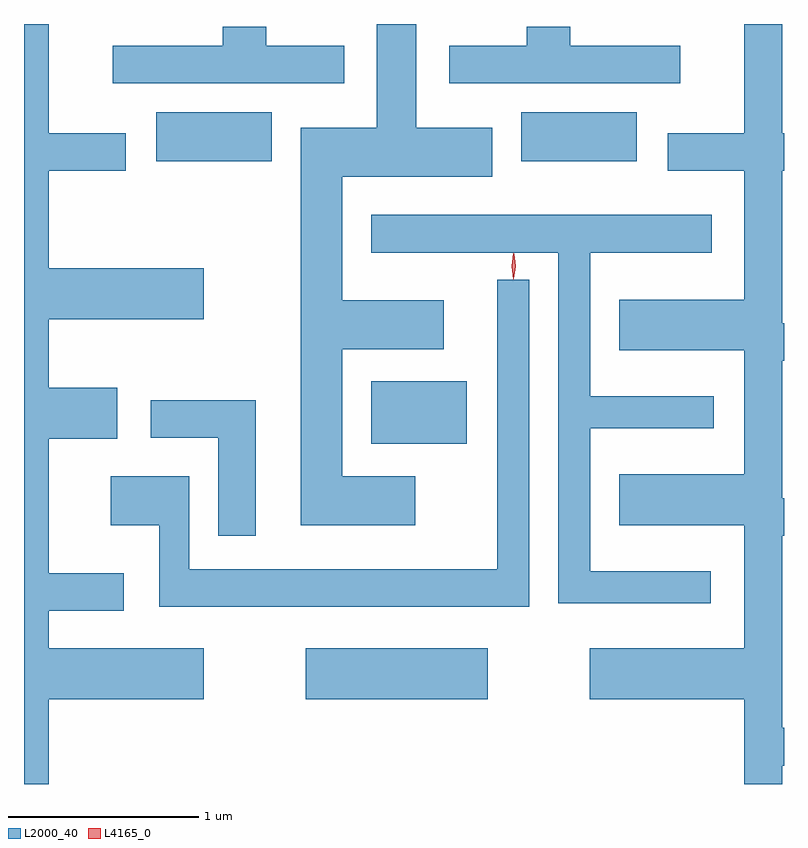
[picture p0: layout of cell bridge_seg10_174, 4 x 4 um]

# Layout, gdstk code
import gdstk
lib = gdstk.Library(unit=1e-6, precision=1e-09)
def R(c, l, rs):  # rectangles x0, y0, x1, y1
    for r in rs: c.add(gdstk.rectangle(r[:2], r[2:], *l))
def P(c, l, *ps):  # polygons
    for p in ps: c.add(gdstk.Polygon(p, *l))
L2000_40 = (2000, 40)
L4165_0 = (4165, 0)

bridge_seg10_174 = lib.new_cell('bridge_seg10_174')
R(bridge_seg10_174, L2000_40, [(1832.381,2139.966,1833.339,2140.234), (1832.726,2141.311,1833.229,2141.639), (1831.596,2142.796,1832.204,2143.054), (1833.516,2142.796,1834.124,2143.054)])
P(bridge_seg10_174, L2000_40, [(1832.959,2141.139),(1832.574,2141.139),(1832.574,2141.806),(1833.109,2141.806),(1833.109,2142.064),(1832.574,2142.064),(1832.574,2142.716),(1833.364,2142.716),(1833.364,2142.974),(1832.964,2142.974),(1832.964,2143.519),(1832.756,2143.519),(1832.756,2142.974),(1832.356,2142.974),(1832.356,2140.881),(1832.959,2140.881)],
  [(1831.029,2139.519),(1831.029,2139.966),(1831.844,2139.966),(1831.844,2140.234),(1831.029,2140.234),(1831.029,2140.431),(1831.424,2140.431),(1831.424,2140.629),(1831.029,2140.629),(1831.029,2141.336),(1831.389,2141.336),(1831.389,2141.604),(1831.029,2141.604),(1831.029,2141.966),(1831.844,2141.966),(1831.844,2142.234),(1831.029,2142.234),(1831.029,2142.746),(1831.434,2142.746),(1831.434,2142.944),(1831.029,2142.944),(1831.029,2143.519),(1830.899,2143.519),(1830.899,2139.519)],
  [(1834.031,2142.069),(1834.031,2141.801),(1834.691,2141.801),(1834.691,2141.149),(1834.031,2141.149),(1834.031,2140.881),(1834.691,2140.881),(1834.691,2140.234),(1833.876,2140.234),(1833.876,2139.966),(1834.691,2139.966),(1834.691,2139.519),(1834.889,2139.519),(1834.889,2139.616),(1834.899,2139.616),(1834.899,2139.814),(1834.889,2139.814),(1834.889,2140.826),(1834.899,2140.826),(1834.899,2141.024),(1834.889,2141.024),(1834.889,2141.746),(1834.899,2141.746),(1834.899,2141.944),(1834.889,2141.944),(1834.889,2142.746),(1834.899,2142.746),(1834.899,2142.944),(1834.889,2142.944),(1834.889,2143.519),(1834.691,2143.519),(1834.691,2142.944),(1834.286,2142.944),(1834.286,2142.746),(1834.691,2142.746),(1834.691,2142.069)],
  [(1834.354,2143.404),(1833.774,2143.404),(1833.774,2143.504),(1833.546,2143.504),(1833.546,2143.404),(1833.136,2143.404),(1833.136,2143.206),(1834.354,2143.206)],
  [(1832.584,2143.404),(1832.174,2143.404),(1832.174,2143.504),(1831.946,2143.504),(1831.946,2143.404),(1831.366,2143.404),(1831.366,2143.206),(1832.584,2143.206)],
  [(1834.513,2140.639),(1833.879,2140.639),(1833.879,2141.391),(1834.528,2141.391),(1834.528,2141.559),(1833.879,2141.559),(1833.879,2142.316),(1834.519,2142.316),(1834.519,2142.514),(1832.726,2142.514),(1832.726,2142.316),(1833.711,2142.316),(1833.711,2140.471),(1834.513,2140.471)],
  [(1833.559,2142.173),(1833.391,2142.173),(1833.391,2140.649),(1831.769,2140.649),(1831.769,2141.139),(1831.356,2141.139),(1831.356,2140.881),(1831.611,2140.881),(1831.611,2140.451),(1833.559,2140.451)],
  [(1832.119,2141.539),(1831.566,2141.539),(1831.566,2141.341),(1831.921,2141.341),(1831.921,2140.826),(1832.119,2140.826)])
P(bridge_seg10_174, L4165_0, [(1833.475,2142.174),(1833.474,2142.175),(1833.465,2142.244),(1833.474,2142.313),(1833.475,2142.314),(1833.475,2142.313),(1833.485,2142.244),(1833.475,2142.175)],
  [(1833.476,2142.178),(1833.467,2142.244),(1833.477,2142.31),(1833.477,2142.311),(1833.478,2142.31),(1833.487,2142.244),(1833.477,2142.178),(1833.477,2142.178)])

lib.write_gds('bridge_seg10_174.gds')
